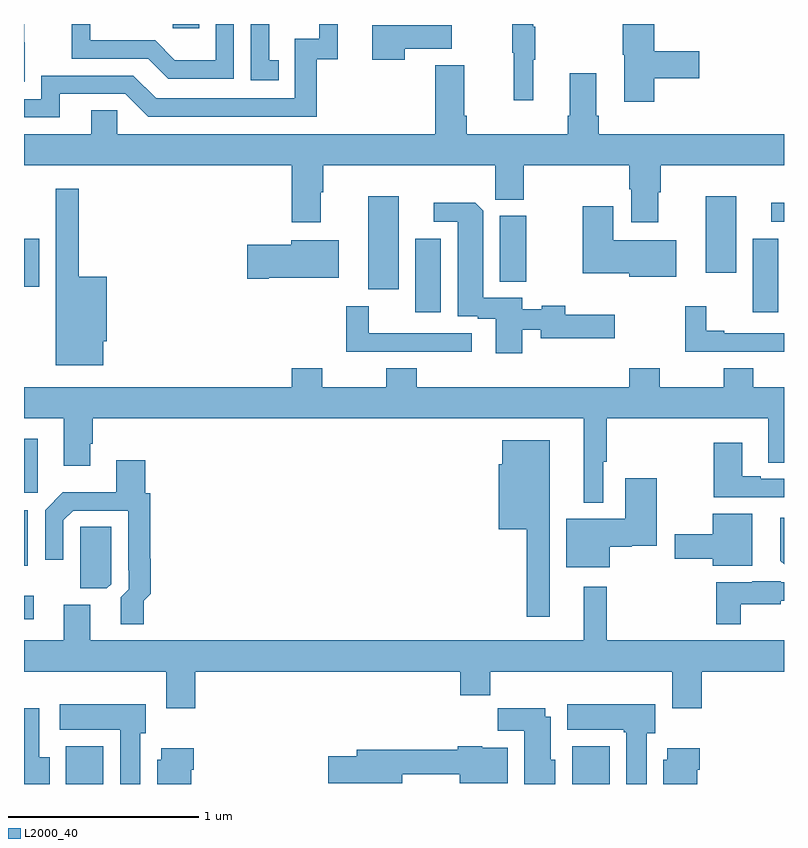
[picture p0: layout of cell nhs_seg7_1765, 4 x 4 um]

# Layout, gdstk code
import gdstk
lib = gdstk.Library(unit=1e-6, precision=1e-09)
def R(c, l, rs):  # rectangles x0, y0, x1, y1
    for r in rs: c.add(gdstk.rectangle(r[:2], r[2:], *l))
def P(c, l, *ps):  # polygons
    for p in ps: c.add(gdstk.Polygon(p, *l))
L2000_40 = (2000, 40)

nhs_seg7_1765 = lib.new_cell('nhs_seg7_1765')
R(nhs_seg7_1765, L2000_40, [(231.221,1024,231.418,1024.198), (233.885,1024,234.082,1024.198), (231,1024.868,231.052,1024.99), (231,1025.15,231.019,1025.44), (231,1025.532,231.073,1025.818), (233.06,1026.482,233.194,1026.871), (234.836,1026.482,234.97,1026.871), (232.811,1026.603,232.972,1027.093), (231,1026.617,231.079,1026.871), (233.504,1026.643,233.644,1026.99), (234.587,1026.69,234.748,1027.093), (234.933,1026.96,235,1027.058), (231.783,1027.977,231.923,1028)])
P(nhs_seg7_1765, L2000_40, [(234.317,1027.714),(234.553,1027.714),(234.553,1027.856),(234.317,1027.856),(234.317,1028),(234.151,1028),(234.151,1027.839),(234.158,1027.839),(234.158,1027.59),(234.317,1027.59)],
  [(232.34,1027.809),(232.291,1027.809),(232.291,1028),(232.194,1028),(232.194,1027.704),(232.34,1027.704)],
  [(231.187,1027.632),(231.534,1027.632),(231.654,1027.512),(232.541,1027.512),(232.541,1027.815),(232.652,1027.815),(232.652,1028),(232.554,1028),(232.554,1027.923),(232.425,1027.923),(232.425,1027.608),(231.696,1027.608),(231.576,1027.728),(231.09,1027.728),(231.09,1027.605),(231,1027.605),(231,1027.509),(231.187,1027.509)],
  [(231.003,1027.903),(231.002,1027.903),(231.002,1028),(231,1028),(231,1027.697),(231.003,1027.697)],
  [(233.681,1027.811),(233.692,1027.811),(233.692,1027.985),(233.681,1027.985),(233.681,1028),(233.571,1028),(233.571,1027.848),(233.578,1027.848),(233.578,1027.599),(233.681,1027.599)],
  [(232.104,1028),(232.008,1028),(232.008,1027.81),(231.794,1027.81),(231.69,1027.914),(231.348,1027.914),(231.348,1028),(231.25,1028),(231.25,1027.818),(231.653,1027.818),(231.758,1027.713),(232.104,1027.713)],
  [(233.003,1027.871),(233.251,1027.871),(233.251,1027.993),(232.832,1027.993),(232.832,1027.812),(233.003,1027.812)],
  [(232.561,1027.115),(232.574,1027.115),(232.574,1027.256),(233.479,1027.256),(233.479,1027.075),(233.63,1027.075),(233.63,1027.256),(234.185,1027.256),(234.185,1027.129),(234.197,1027.129),(234.197,1026.957),(234.337,1026.957),(234.337,1027.115),(234.35,1027.115),(234.35,1027.256),(235,1027.256),(235,1027.42),(234.026,1027.42),(234.026,1027.516),(234.013,1027.516),(234.013,1027.741),(233.873,1027.741),(233.873,1027.516),(233.861,1027.516),(233.861,1027.42),(233.33,1027.42),(233.33,1027.516),(233.317,1027.516),(233.317,1027.783),(233.165,1027.783),(233.165,1027.42),(231.492,1027.42),(231.492,1027.547),(231.353,1027.547),(231.353,1027.42),(231,1027.42),(231,1027.256),(232.409,1027.256),(232.409,1026.957),(232.561,1026.957)],
  [(231.418,1026.33),(231.436,1026.33),(231.436,1026.67),(231.289,1026.67),(231.289,1027.132),(231.167,1027.132),(231.167,1026.203),(231.418,1026.203)],
  [(233.623,1026.39),(233.72,1026.39),(233.72,1026.347),(234.109,1026.347),(234.109,1026.469),(233.848,1026.469),(233.848,1026.518),(233.724,1026.518),(233.724,1026.499),(233.623,1026.499),(233.623,1026.558),(233.416,1026.558),(233.416,1027.016),(233.375,1027.058),(233.157,1027.058),(233.157,1026.96),(233.282,1026.96),(233.282,1026.462),(233.387,1026.462),(233.387,1026.45),(233.483,1026.45),(233.483,1026.267),(233.623,1026.267)],
  [(234.433,1026.862),(234.1,1026.862),(234.1,1027.042),(233.942,1027.042),(233.942,1026.689),(234.186,1026.689),(234.186,1026.671),(234.433,1026.671)],
  [(232.288,1026.664),(232.657,1026.664),(232.657,1026.862),(232.406,1026.862),(232.406,1026.837),(232.176,1026.837),(232.176,1026.659),(232.288,1026.659)],
  [(235,1026.372),(234.685,1026.372),(234.685,1026.385),(234.591,1026.385),(234.591,1026.514),(234.48,1026.514),(234.48,1026.276),(235,1026.276)],
  [(233.356,1026.372),(232.815,1026.372),(232.815,1026.514),(232.696,1026.514),(232.696,1026.276),(233.356,1026.276)],
  [(234.049,1025.695),(234.067,1025.695),(234.067,1025.924),(234.917,1025.924),(234.917,1025.692),(235,1025.692),(235,1026.088),(234.837,1026.088),(234.837,1026.187),(234.682,1026.187),(234.682,1026.088),(234.345,1026.088),(234.345,1026.187),(234.185,1026.187),(234.185,1026.088),(233.066,1026.088),(233.066,1026.187),(232.906,1026.187),(232.906,1026.088),(232.569,1026.088),(232.569,1026.187),(232.409,1026.187),(232.409,1026.088),(231,1026.088),(231,1025.924),(231.209,1025.924),(231.209,1025.676),(231.349,1025.676),(231.349,1025.791),(231.362,1025.791),(231.362,1025.924),(233.945,1025.924),(233.945,1025.48),(234.049,1025.48)],
  [(233.767,1025.809),(233.516,1025.809),(233.516,1025.682),(233.498,1025.682),(233.498,1025.342),(233.646,1025.342),(233.646,1024.881),(233.767,1024.881)],
  [(235,1025.607),(234.877,1025.607),(234.877,1025.62),(234.781,1025.62),(234.781,1025.797),(234.629,1025.797),(234.629,1025.51),(235,1025.51)],
  [(231.629,1024.964),(231.668,1025.002),(231.668,1025.186),(231.665,1025.186),(231.665,1025.529),(231.638,1025.529),(231.638,1025.704),(231.485,1025.704),(231.485,1025.536),(231.205,1025.536),(231.111,1025.442),(231.111,1025.18),(231.207,1025.18),(231.207,1025.388),(231.258,1025.439),(231.549,1025.439),(231.549,1025.125),(231.552,1025.125),(231.552,1025.025),(231.509,1024.982),(231.509,1024.842),(231.629,1024.842)],
  [(234.082,1025.248),(234.198,1025.248),(234.198,1025.255),(234.33,1025.255),(234.33,1025.608),(234.164,1025.608),(234.164,1025.395),(233.855,1025.395),(233.855,1025.141),(234.082,1025.141)],
  [(234.832,1025.422),(234.626,1025.422),(234.626,1025.314),(234.426,1025.314),(234.426,1025.185),(234.626,1025.185),(234.626,1025.15),(234.832,1025.15)],
  [(235,1025.401),(234.98,1025.401),(234.98,1025.176),(235,1025.156)],
  [(231.459,1025.052),(231.459,1025.354),(231.297,1025.354),(231.297,1025.243),(231.296,1025.243),(231.296,1025.029),(231.435,1025.029)],
  [(234.772,1024.946),(234.984,1024.946),(234.984,1024.965),(235,1024.965),(235,1025.061),(234.984,1025.061),(234.984,1025.068),(234.834,1025.068),(234.834,1025.062),(234.643,1025.062),(234.643,1024.841),(234.772,1024.841)],
  [(231.902,1024.592),(233.297,1024.592),(233.297,1024.468),(233.453,1024.468),(233.453,1024.592),(234.413,1024.592),(234.413,1024.398),(234.566,1024.398),(234.566,1024.592),(235,1024.592),(235,1024.756),(234.067,1024.756),(234.067,1025.038),(233.945,1025.038),(233.945,1024.756),(231.349,1024.756),(231.349,1024.944),(231.209,1024.944),(231.209,1024.756),(231,1024.756),(231,1024.592),(231.749,1024.592),(231.749,1024.398),(231.902,1024.398)],
  [(234.277,1024.266),(234.322,1024.266),(234.322,1024.42),(233.858,1024.42),(233.858,1024.286),(234.157,1024.286),(234.157,1024.273),(234.17,1024.273),(234.17,1024),(234.277,1024)],
  [(231.613,1024.266),(231.64,1024.266),(231.64,1024.42),(231.189,1024.42),(231.189,1024.286),(231.506,1024.286),(231.506,1024),(231.613,1024)],
  [(233.797,1024.128),(233.773,1024.128),(233.773,1024.354),(233.743,1024.354),(233.743,1024.399),(233.494,1024.399),(233.494,1024.28),(233.633,1024.28),(233.633,1024),(233.797,1024)],
  [(231.136,1024.14),(231.079,1024.14),(231.079,1024.399),(231,1024.399),(231,1024),(231.136,1024)],
  [(232.99,1024.051),(233.294,1024.051),(233.294,1024.004),(233.545,1024.004),(233.545,1024.192),(233.412,1024.192),(233.412,1024.198),(233.282,1024.198),(233.282,1024.18),(232.751,1024.18),(232.751,1024.146),(232.602,1024.146),(232.602,1024.004),(232.99,1024.004)],
  [(231.88,1024.076),(231.893,1024.076),(231.893,1024.189),(231.722,1024.189),(231.722,1024.128),(231.701,1024.128),(231.701,1024),(231.88,1024)],
  [(234.544,1024.076),(234.557,1024.076),(234.557,1024.189),(234.386,1024.189),(234.386,1024.128),(234.365,1024.128),(234.365,1024),(234.544,1024)])

lib.write_gds('nhs_seg7_1765.gds')
